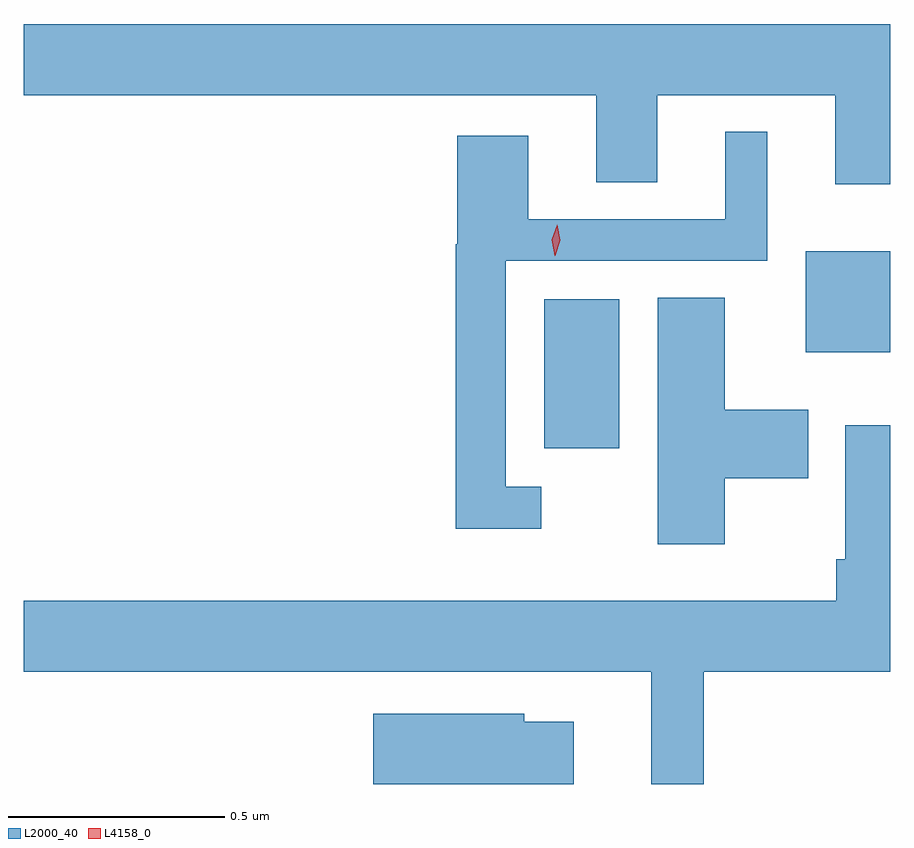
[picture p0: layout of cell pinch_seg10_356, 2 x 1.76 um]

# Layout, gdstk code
import gdstk
lib = gdstk.Library(unit=1e-6, precision=1e-09)
def R(c, l, rs):  # rectangles x0, y0, x1, y1
    for r in rs: c.add(gdstk.rectangle(r[:2], r[2:], *l))
def P(c, l, *ps):  # polygons
    for p in ps: c.add(gdstk.Polygon(p, *l))
L2000_40 = (2000, 40)
L4158_0 = (4158, 0)

pinch_seg10_356 = lib.new_cell('pinch_seg10_356')
R(pinch_seg10_356, L2000_40, [(398.423,1279.52,398.596,1279.864), (399.026,1279.742,399.221,1279.975)])
P(pinch_seg10_356, L2000_40, [(399.221,1280.5),(397.221,1280.5),(397.221,1280.336),(398.543,1280.336),(398.543,1280.134),(398.683,1280.134),(398.683,1280.336),(399.095,1280.336),(399.095,1280.13),(399.221,1280.13)],
  [(398.416,1279.431),(398.334,1279.431),(398.334,1279.953),(398.938,1279.953),(398.938,1280.251),(398.84,1280.251),(398.84,1280.049),(398.386,1280.049),(398.386,1280.242),(398.222,1280.242),(398.222,1279.991),(398.218,1279.991),(398.218,1279.334),(398.416,1279.334)],
  [(398.839,1279.451),(399.032,1279.451),(399.032,1279.609),(398.839,1279.609),(398.839,1279.868),(398.684,1279.868),(398.684,1279.299),(398.839,1279.299)],
  [(398.791,1279.004),(399.221,1279.004),(399.221,1279.573),(399.117,1279.573),(399.117,1279.264),(399.097,1279.264),(399.097,1279.168),(397.221,1279.168),(397.221,1279.004),(398.669,1279.004),(398.669,1278.745),(398.791,1278.745)],
  [(398.491,1278.889),(398.376,1278.889),(398.376,1278.907),(398.028,1278.907),(398.028,1278.745),(398.491,1278.745)])
P(pinch_seg10_356, L4158_0, [(398.447,1279.965),(398.44,1280.002),(398.452,1280.037),(398.452,1280.037),(398.452,1280.037),(398.46,1280.001),(398.448,1279.965),(398.448,1279.965)])

lib.write_gds('pinch_seg10_356.gds')
